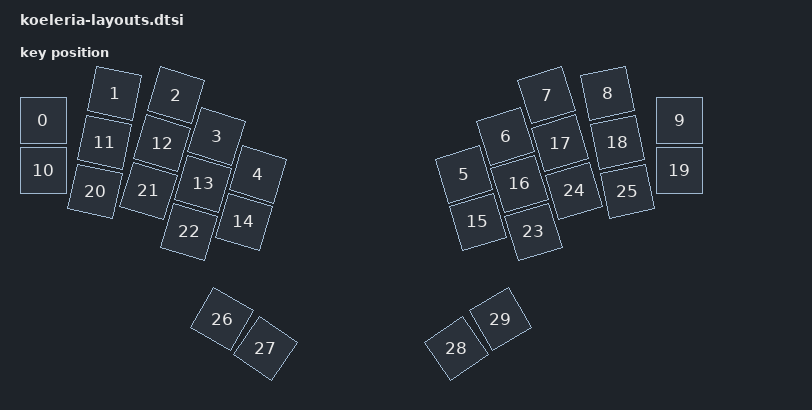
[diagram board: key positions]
#include <physical_layouts.dtsi>

/ {
    koeleria_physical_layout: koeleria_physical_layout {
        compatible = "zmk,physical-layout";
        display-name = "koeleria";

        kscan = <&kscan0>;
        transform = <&default_transform>;

        keys  //                     w   h    x    y     rot    rx    ry
            = <&key_physical_attrs 100 100    0   63       0     0     0>
            , <&key_physical_attrs 100 100  143    9    1200   193    59>
            , <&key_physical_attrs 100 100  266   13    1700   316    63>
            , <&key_physical_attrs 100 100  347   95    1701   397   145>
            , <&key_physical_attrs 100 100  430  171    1702   480   221>
            , <&key_physical_attrs 100 100  842  171 (-1702)   892   221>
            , <&key_physical_attrs 100 100  925   95 (-1701)   975   145>
            , <&key_physical_attrs 100 100 1007   13 (-1700)  1057    63>
            , <&key_physical_attrs 100 100 1129    9 (-1200)  1179    59>
            , <&key_physical_attrs 100 100 1273   63       0     0     0>
            , <&key_physical_attrs 100 100    0  163       0     0     0>
            , <&key_physical_attrs 100 100  123  107    1200   173   157>
            , <&key_physical_attrs 100 100  238  109    1700   288   159>
            , <&key_physical_attrs 100 100  320  190    1701   370   240>
            , <&key_physical_attrs 100 100  402  266    1702   452   316>
            , <&key_physical_attrs 100 100  870  266 (-1702)   920   316>
            , <&key_physical_attrs 100 100  953  190 (-1701)  1003   240>
            , <&key_physical_attrs 100 100 1034  109 (-1700)  1084   159>
            , <&key_physical_attrs 100 100 1149  107 (-1200)  1199   157>
            , <&key_physical_attrs 100 100 1273  163       0     0     0>
            , <&key_physical_attrs 100 100  104  205    1200   154   255>
            , <&key_physical_attrs 100 100  211  204    1700   261   254>
            , <&key_physical_attrs 100 100  292  286    1701   342   336>
            , <&key_physical_attrs 100 100  981  286 (-1701)  1031   336>
            , <&key_physical_attrs 100 100 1062  204 (-1700)  1112   254>
            , <&key_physical_attrs 100 100 1169  205 (-1200)  1219   255>
            , <&key_physical_attrs 100 100  358  461    3001   408   511>
            , <&key_physical_attrs 100 100  445  519    3401   495   569>
            , <&key_physical_attrs 100 100  827  519 (-3401)   877   569>
            , <&key_physical_attrs 100 100  915  461 (-3001)   965   511>
            ;
    };

    position_map {
        compatible = "zmk,physical-layout-position-map";
        complete;

        cronus {
            physical-layout = <&koeleria_physical_layout>;
            positions
                = <  0  1  2  3  4  5  6  7  8  9>
                , < 10 11 12 13 14 15 16 17 18 19>
                , <    20 21 22 23 24 25  >
                , <       26 27 28 29     >;
        };
    };
};
